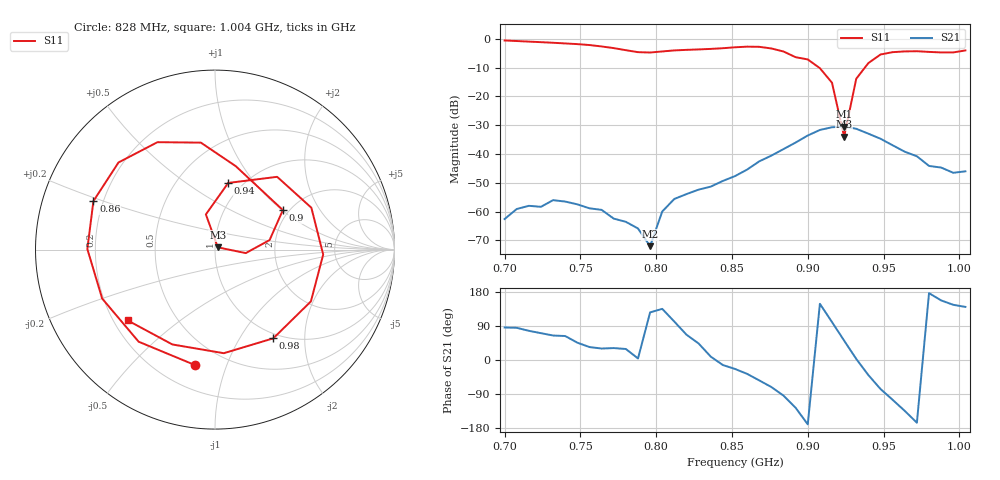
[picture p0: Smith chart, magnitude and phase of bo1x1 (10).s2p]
# Hz S RI R 50
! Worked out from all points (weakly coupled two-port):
!   39 points, 700 MHz to 1.004 GHz, reference 50 ohm
!   highest |S21| = -30.51 dB at 924 MHz (marker M1); lowest = -72.0 dB at 796 MHz (marker M2)
!   lowest |S11| = -34.0 dB at 924 MHz (marker M3), VSWR 1.04, Z = 51.6 + j1.3 ohm
!   |S11| at or under -10 dB: 907.5 MHz to 937.7 MHz (30.24 MHz wide, 3.28 % of centre)
!   S12 and S22 are empty: the file has one direction only
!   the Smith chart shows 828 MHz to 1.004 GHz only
!   S11 on the Smith chart (normalised r, x): 828 MHz: 0.35, -0.78; 860 MHz: 0.16, +0.19; 900 MHz: 1.86, +1.01; 940 MHz: 0.86, +0.75; 980 MHz: 0.93, -1.41; 1.004 GHz: 0.26, -0.33
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7e8  0.7497 0.5577  5.49e-05 0.000743  0 0  0 0
7.24e8  0.8412 -0.2325  0.000401 0.00115  0 0  0 0
7.4e8  0.4599 -0.6904  0.000674 0.00134  0 0  0 0
7.56e8  -0.1863 -0.755  0.000947 0.000641  0 0  0 0
7.72e8  -0.6596 -0.1968  0.000646 0.000396  0 0  0 0
7.8e8  -0.5888 0.2327  0.000583 0.000324  0 0  0 0
7.96e8  0.2533 0.5186  -0.000147 0.000205  0 0  0 0
8.04e8  0.5801 0.1615  -0.000712 0.000713  0 0  0 0
8.2e8  0.2668 -0.5835  0.000797 0.00185  0 0  0 0
8.28e8  -0.1106 -0.6436  0.00175 0.00166  0 0  0 0
8.52e8  -0.7112 0.00338  0.00379 -0.00166  0 0  0 0
8.6e8  -0.6774 0.2704  0.00432 -0.00321  0 0  0 0
8.84e8  -0.0786 0.5959  -0.000853 -0.0121  0 0  0 0
9e8  0.3782 0.2201  -0.0206 -0.0037  0 0  0 0
9.08e8  0.3042 0.0531  -0.0222 0.0138  0 0  0 0
9.16e8  0.1714 -0.0195  -0.0051 0.0287  0 0  0 0
9.24e8  0.0156 0.0126  0.0187 0.0232  0 0  0 0
9.32e8  -0.0508 0.1961  0.0274 0.00135  0 0  0 0
9.4e8  0.0735 0.3713  0.0173 -0.0144  0 0  0 0
9.56e8  0.5368 0.2333  -0.00368 -0.0137  0 0  0 0
9.8e8  0.3249 -0.4943  -0.00621 0.000396  0 0  0 0
1.004e9  -0.4875 -0.3942  -0.00385 0.00322  0 0  0 0
